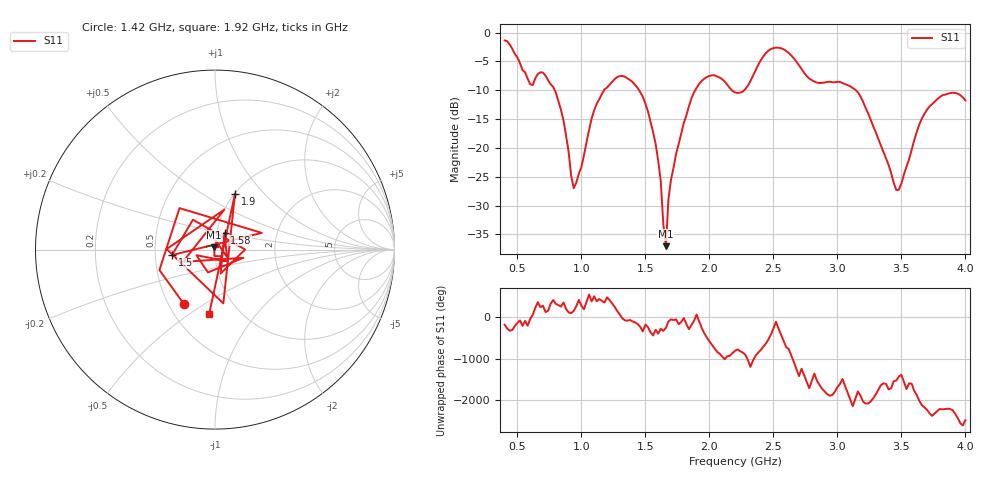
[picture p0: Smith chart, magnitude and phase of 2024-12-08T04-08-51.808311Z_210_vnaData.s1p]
!Created with skrf (http://scikit-rf.org).
# Hz S RI R 50.0
!freq ReS11 ImS11
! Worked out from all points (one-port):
!   181 points, 400 MHz to 4 GHz, reference 50 ohm
!   lowest |S11| = -37.0 dB at 1.66 GHz (marker M1), VSWR 1.03, Z = 49.6 + j1.33 ohm
!   |S11| at or under -10 dB: 791.5 MHz to 1.177 GHz (385.2 MHz wide, 39.1 % of centre); 1.45 GHz to 1.889 GHz (439.1 MHz wide, 26.3 % of centre); 3.144 GHz to end of sweep (the widest 3 of 4)
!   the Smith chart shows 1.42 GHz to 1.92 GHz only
!   S11 on the Smith chart (normalised r, x): 1.42 GHz: 0.60, -0.42; 1.5 GHz: 0.61, -0.04; 1.58 GHz: 1.09, +0.21; 1.9 GHz: 1.00, +0.70; 1.92 GHz: 0.73, -0.60
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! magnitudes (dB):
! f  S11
! 400 MHz  -1.4
! 600 MHz  -9.0
! 720 MHz  -7.5
! 860 MHz  -15.2
! 940 MHz  -27.0
! 1.12 GHz  -12.3
! 1.3 GHz  -7.5
! 1.42 GHz  -9.1
! 1.5 GHz  -12.3
! 1.58 GHz  -19.3
! 1.62 GHz  -25.7
! 1.64 GHz  -33.2
! 1.66 GHz  -37.0
! 1.68 GHz  -28.9
! 1.76 GHz  -19.3
! 1.9 GHz  -9.6
! 1.92 GHz  -8.9
! 2.04 GHz  -7.4
! 2.2 GHz  -10.4
! 2.48 GHz  -2.9
! 2.66 GHz  -4.5
! 2.82 GHz  -8.5
! 3.1 GHz  -9.3
! 3.2 GHz  -12.0
! 3.46 GHz  -27.3
! 3.56 GHz  -22.0
! 3.72 GHz  -12.8
! 4 GHz  -11.8
